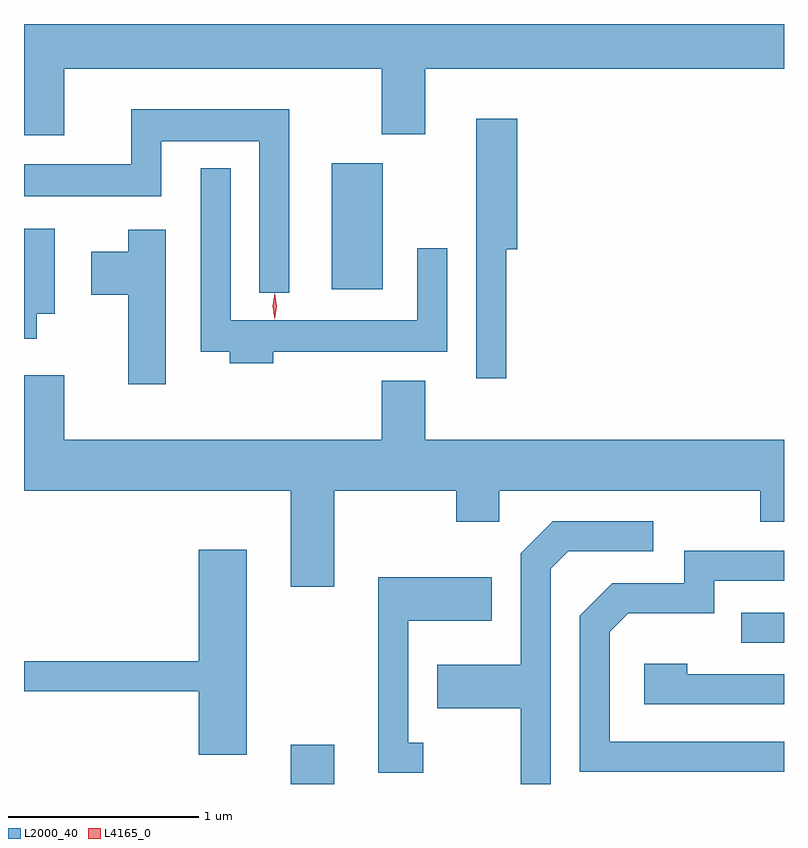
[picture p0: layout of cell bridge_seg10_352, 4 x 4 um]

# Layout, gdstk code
import gdstk
lib = gdstk.Library(unit=1e-6, precision=1e-09)
def R(c, l, rs):  # rectangles x0, y0, x1, y1
    for r in rs: c.add(gdstk.rectangle(r[:2], r[2:], *l))
def P(c, l, *ps):  # polygons
    for p in ps: c.add(gdstk.Polygon(p, *l))
L2000_40 = (2000, 40)
L4165_0 = (4165, 0)

bridge_seg10_352 = lib.new_cell('bridge_seg10_352')
R(bridge_seg10_352, L2000_40, [(1061.601,2127.912,1061.829,2128.119), (1063.973,2128.656,1064.197,2128.814), (1061.816,2130.516,1062.084,2131.179)])
P(bridge_seg10_352, L2000_40, [(1060.409,2131.676),(1062.081,2131.676),(1062.081,2131.331),(1062.309,2131.331),(1062.309,2131.676),(1064.197,2131.676),(1064.197,2131.912),(1060.197,2131.912),(1060.197,2131.326),(1060.409,2131.326)],
  [(1061.594,2131.464),(1060.761,2131.464),(1060.761,2131.174),(1060.197,2131.174),(1060.197,2131.006),(1060.919,2131.006),(1060.919,2131.296),(1061.436,2131.296),(1061.436,2130.498),(1061.594,2130.498)],
  [(1062.734,2130.726),(1062.794,2130.726),(1062.794,2131.414),(1062.576,2131.414),(1062.576,2130.048),(1062.734,2130.048)],
  [(1061.509,2130.186),(1062.424,2130.186),(1062.424,2130.733),(1062.266,2130.733),(1062.266,2130.354),(1061.284,2130.354),(1061.284,2131.153),(1061.126,2131.153),(1061.126,2130.186),(1061.281,2130.186),(1061.281,2130.126),(1061.509,2130.126)],
  [(1060.264,2130.386),(1060.359,2130.386),(1060.359,2130.834),(1060.197,2130.834),(1060.197,2130.256),(1060.264,2130.256)],
  [(1060.944,2130.829),(1060.746,2130.829),(1060.746,2130.714),(1060.551,2130.714),(1060.551,2130.486),(1060.746,2130.486),(1060.746,2130.016),(1060.944,2130.016)],
  [(1061.829,2129.456),(1062.471,2129.456),(1062.471,2129.291),(1062.699,2129.291),(1062.699,2129.456),(1064.071,2129.456),(1064.071,2129.291),(1064.197,2129.291),(1064.197,2129.724),(1062.309,2129.724),(1062.309,2130.034),(1062.081,2130.034),(1062.081,2129.724),(1060.409,2129.724),(1060.409,2130.064),(1060.197,2130.064),(1060.197,2129.456),(1061.601,2129.456),(1061.601,2128.951),(1061.829,2128.951)],
  [(1062.969,2129.044),(1063.062,2129.136),(1063.508,2129.136),(1063.508,2129.294),(1062.979,2129.294),(1062.811,2129.127),(1062.811,2128.539),(1062.371,2128.539),(1062.371,2128.311),(1062.811,2128.311),(1062.811,2127.912),(1062.969,2127.912)],
  [(1061.369,2129.144),(1061.116,2129.144),(1061.116,2128.559),(1060.197,2128.559),(1060.197,2128.401),(1061.116,2128.401),(1061.116,2128.066),(1061.369,2128.066)],
  [(1064.197,2128.134),(1063.279,2128.134),(1063.279,2128.714),(1063.377,2128.811),(1063.829,2128.811),(1063.829,2128.981),(1064.197,2128.981),(1064.197,2129.139),(1063.671,2129.139),(1063.671,2128.969),(1063.294,2128.969),(1063.121,2128.797),(1063.121,2127.976),(1064.197,2127.976)],
  [(1062.298,2128.129),(1062.219,2128.129),(1062.219,2128.771),(1062.659,2128.771),(1062.659,2128.999),(1062.061,2128.999),(1062.061,2127.971),(1062.298,2127.971)],
  [(1064.197,2128.489),(1063.689,2128.489),(1063.689,2128.544),(1063.461,2128.544),(1063.461,2128.331),(1064.197,2128.331)])
P(bridge_seg10_352, L4165_0, [(1061.517,2130.357),(1061.516,2130.358),(1061.507,2130.427),(1061.516,2130.496),(1061.517,2130.496),(1061.517,2130.496),(1061.527,2130.427),(1061.517,2130.358)],
  [(1061.516,2130.36),(1061.507,2130.426),(1061.516,2130.492),(1061.516,2130.493),(1061.517,2130.492),(1061.526,2130.426),(1061.517,2130.36),(1061.517,2130.36)])

lib.write_gds('bridge_seg10_352.gds')
